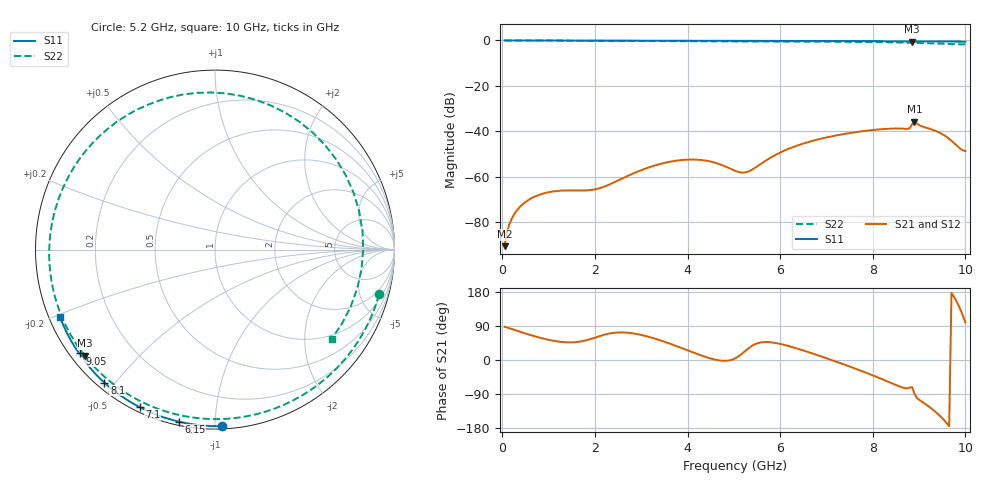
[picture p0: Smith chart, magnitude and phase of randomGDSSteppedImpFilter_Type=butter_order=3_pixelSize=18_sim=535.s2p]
! freq	dB(S11)	phase(S11)	dB(S12)	phase(S12)
!  dB(S21)	phase(S21)	dB(S22)	phase(S22)
!S-par simulation data
#  GHz  S  DB  R 50
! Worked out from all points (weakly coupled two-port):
!   200 points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, 50 MHz to 10 GHz, reference 50 ohm
!   highest |S21| = -35.67 dB at 8.9 GHz (marker M1); lowest = -90.5 dB at 50 MHz (marker M2)
!   lowest |S11| = -0.6 dB at 8.85 GHz (marker M3), VSWR 29.36, Z = 1.92 - j17.8 ohm
!   |S11| at or under -10 dB: nowhere
!   |S22| runs from -1.7 to 0.0 dB; largest |S21 - S12| = 0
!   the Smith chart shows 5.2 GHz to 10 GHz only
!   S11 on the Smith chart (normalised r, x): 5.2 GHz: 0.02, -1.04; 6.15 GHz: 0.02, -0.81; 7.1 GHz: 0.02, -0.63; 8.1 GHz: 0.02, -0.47; 9.05 GHz: 0.03, -0.34; 10 GHz: 0.03, -0.21
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0.05  -0.00 -0.9  -90.50 87.8  -90.50 87.8  -0.00 -3.3
0.95  -0.02 -17.1  -66.98 54.7  -66.98 54.7  -0.08 -60.8
1.75  -0.04 -31.3  -66.03 50.2  -66.03 50.2  -0.13 -109.6
2.65  -0.06 -46.8  -60.15 72.5  -60.15 72.5  -0.19 -164.4
3.4  -0.08 -59.3  -54.39 52.4  -54.39 52.4  -0.27 144.1
3.85  -0.09 -66.7  -52.66 32.6  -52.66 32.6  -0.33 108.1
4.2  -0.10 -72.3  -52.44 16.3  -52.44 16.3  -0.38 77.2
4.65  -0.12 -79.3  -54.14 -0.4  -54.14 -0.4  -0.43 34.9
5.05  -0.13 -85.5  -57.54 5.8  -57.54 5.8  -0.46 -2.1
5.2  -0.14 -87.8  -58.15 19.2  -58.15 19.2  -0.46 -15.3
5.65  -0.16 -94.5  -53.40 47.2  -53.40 47.2  -0.48 -51.6
6.15  -0.18 -101.9  -47.95 38.0  -47.95 38.0  -0.49 -86.0
6.7  -0.21 -109.9  -44.17 17.2  -44.17 17.2  -0.53 -118.5
7.1  -0.24 -115.6  -42.24 0.4  -42.24 0.4  -0.57 -140.1
8.1  -0.32 -129.8  -39.20 -45.4  -39.20 -45.4  -0.75 165.2
8.35  -0.34 -133.3  -38.84 -58.1  -38.84 -58.1  -0.82 149.4
8.85  -0.59 -140.8  -36.87 -71.8  -36.87 -71.8  -1.04 110.9
8.9  -0.59 -140.2  -35.67 -88.6  -35.67 -88.6  -1.06 106.3
9.05  -0.44 -142.5  -37.69 -109.1  -37.69 -109.1  -1.15 91.5
9.35  -0.45 -147.0  -39.73 -136.4  -39.73 -136.4  -1.38 56.6
9.6  -0.48 -150.6  -42.53 -167.1  -42.53 -167.1  -1.57 22.1
10  -0.52 -156.3  -48.62 99.2  -48.62 99.2  -1.74 -37.5
